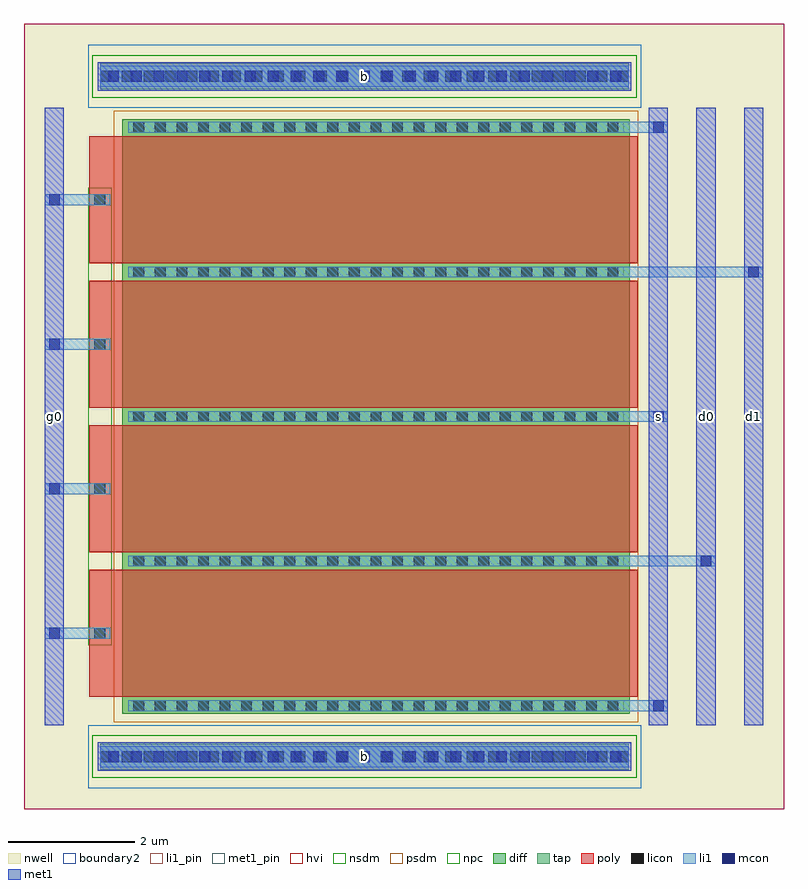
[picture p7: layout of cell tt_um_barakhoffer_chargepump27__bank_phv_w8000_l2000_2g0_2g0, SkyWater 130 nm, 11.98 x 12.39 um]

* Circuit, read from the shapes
.subckt tt_um_barakhoffer_chargepump27__bank_phv_w8000_l2000_2g0_2g0 b d0 d1 g0 s
XM1 d0 g0 s b sky130_fd_pr__pfet_g5v0d10v5 w=8 l=2 m=2
XM2 d1 g0 s b sky130_fd_pr__pfet_g5v0d10v5 w=8 l=2 m=2
.ends

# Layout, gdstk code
import gdstk
lib = gdstk.Library(unit=1e-6, precision=1e-09)
def R(c, l, rs):  # rectangles x0, y0, x1, y1
    for r in rs: c.add(gdstk.rectangle(r[:2], r[2:], *l))
def A(c, l, x, y, w, h, nx, ny, dx, dy):  # array of equal rectangles
    R(c, l, [(x+i*dx, y+j*dy, x+i*dx+w, y+j*dy+h) for i in range(nx) for j in range(ny)])
nwell = (64, 20)
diff = (65, 20)
tap = (65, 44)
poly = (66, 20)
licon = (66, 44)
li1_pin = (67, 16)
li1 = (67, 20)
mcon = (67, 44)
met1_pin = (68, 16)
met1 = (68, 20)
hvi = (75, 20)
nsdm = (93, 44)
psdm = (94, 20)
npc = (95, 20)
boundary2 = (236, 0)

tt_um_barakhoffer_charge = lib.new_cell('tt_um_barakhoffer_chargepump27__mos_12')
R(tt_um_barakhoffer_charge, nwell, [(-0.18,-0.18,8.18,9.55)])
A(tt_um_barakhoffer_charge, diff, 0.115, 0, 7.77, 0.25, 1, 5, 0, 2.28)
R(tt_um_barakhoffer_charge, diff, [(0,0,8,9.37)])
A(tt_um_barakhoffer_charge, poly, -0.52, 0.265, 0.33, 2, 1, 4, 0, 2.28)
A(tt_um_barakhoffer_charge, poly, -0.19, 0.265, 8.32, 2, 1, 4, 0, 2.28)
A(tt_um_barakhoffer_charge, poly, -0.52, 1.13, 0.33, 0.27, 1, 4, 0, 2.28)
A(tt_um_barakhoffer_charge, licon, 0.175, 0.04, 0.17, 0.17, 23, 5, 0.34, 2.28)
A(tt_um_barakhoffer_charge, licon, -0.44, 1.18, 0.17, 0.17, 1, 4, 0, 2.28)
A(tt_um_barakhoffer_charge, li1_pin, 0.095, 0.04, 7.81, 0.17, 1, 5, 0, 2.28)
A(tt_um_barakhoffer_charge, li1_pin, -0.52, 1.18, 0.33, 0.17, 1, 4, 0, 2.28)
R(tt_um_barakhoffer_charge, li1, [(0.095,0.04,7.905,0.21), (0.095,0.04,7.905,0.21), (-0.52,1.18,-0.19,1.35), (-0.52,1.18,-0.19,1.35), (0.095,2.32,7.905,2.49), (0.095,2.32,7.905,2.49), (-0.52,3.46,-0.19,3.63), (-0.52,3.46,-0.19,3.63), (0.095,4.6,7.905,4.77), (0.095,4.6,7.905,4.77), (-0.52,5.74,-0.19,5.91), (-0.52,5.74,-0.19,5.91), (0.095,6.88,7.905,7.05), (0.095,6.88,7.905,7.05), (-0.52,8.02,-0.19,8.19), (-0.52,8.02,-0.19,8.19), (0.095,9.16,7.905,9.33), (0.095,9.16,7.905,9.33)])
R(tt_um_barakhoffer_charge, hvi, [(-0.135,-0.135,8.135,9.505)])
R(tt_um_barakhoffer_charge, psdm, [(-0.135,-0.135,8.135,9.505)])
A(tt_um_barakhoffer_charge, npc, -0.54, 1.08, 0.37, 0.37, 1, 4, 0, 2.28)
R(tt_um_barakhoffer_charge, npc, [(-0.54,1.08,-0.17,8.29)])
tt_um_barakhoffer_charge.add(gdstk.Label('gate_3', (-0.355,8.105), layer=67, texttype=5))
tt_um_barakhoffer_charge.add(gdstk.Label('gate_0', (-0.355,1.265), layer=67, texttype=5))
tt_um_barakhoffer_charge.add(gdstk.Label('gate_1', (-0.355,3.545), layer=67, texttype=5))
tt_um_barakhoffer_charge.add(gdstk.Label('sd_0_1', (4,2.405), layer=67, texttype=5))
tt_um_barakhoffer_charge.add(gdstk.Label('sd_0_3', (4,6.965), layer=67, texttype=5))
tt_um_barakhoffer_charge.add(gdstk.Label('gate_2', (-0.355,5.825), layer=67, texttype=5))
tt_um_barakhoffer_charge.add(gdstk.Label('sd_0_2', (4,4.685), layer=67, texttype=5))
tt_um_barakhoffer_charge.add(gdstk.Label('sd_0_0', (4,0.125), layer=67, texttype=5))
tt_um_barakhoffer_charge.add(gdstk.Label('sd_0_4', (4,9.245), layer=67, texttype=5))

c_tt_um_barakhoffer_charge = lib.new_cell('tt_um_barakhoffer_chargepump27__bank_phv_w8000_l2000_2g0_2g0')
R(c_tt_um_barakhoffer_charge, nwell, [(-1.01,-0.33,10.975,12.06)])
R(c_tt_um_barakhoffer_charge, tap, [(0.195,0.295,8.525,0.705), (0.195,11.025,8.525,11.435)])
A(c_tt_um_barakhoffer_charge, licon, 0.195, 0.415, 0.17, 0.17, 25, 2, 0.34, 10.73)
A(c_tt_um_barakhoffer_charge, li1, 0.635, 1.22, 8.51, 0.17, 1, 3, 0, 4.56)
A(c_tt_um_barakhoffer_charge, li1, 8.91, 1.22, 0.17, 0.17, 1, 3, 0, 4.56)
A(c_tt_um_barakhoffer_charge, li1, -0.68, 2.36, 1.03, 0.17, 1, 4, 0, 2.28)
A(c_tt_um_barakhoffer_charge, li1, -0.615, 2.36, 0.17, 0.17, 1, 4, 0, 2.28)
R(c_tt_um_barakhoffer_charge, li1, [(0.195,0.335,8.525,0.665), (0.315,0.415,8.405,0.585), (0.635,3.5,9.895,3.67), (9.66,3.5,9.83,3.67), (0.635,8.06,10.645,8.23), (10.41,8.06,10.58,8.23), (0.195,11.065,8.525,11.395), (0.315,11.145,8.405,11.315)])
A(c_tt_um_barakhoffer_charge, mcon, 0.315, 0.415, 0.17, 0.17, 23, 2, 0.36, 10.73)
A(c_tt_um_barakhoffer_charge, mcon, 8.91, 1.22, 0.17, 0.17, 1, 3, 0, 4.56)
A(c_tt_um_barakhoffer_charge, mcon, -0.615, 2.36, 0.17, 0.17, 1, 4, 0, 2.28)
R(c_tt_um_barakhoffer_charge, mcon, [(9.66,3.5,9.83,3.67), (10.41,8.06,10.58,8.23)])
A(c_tt_um_barakhoffer_charge, met1_pin, 8.845, 1, 0.3, 9.73, 3, 1, 0.75, 0)
R(c_tt_um_barakhoffer_charge, met1_pin, [(0.15,0.275,8.57,0.725), (-0.68,1,-0.38,10.73), (0.15,11.005,8.57,11.455)])
A(c_tt_um_barakhoffer_charge, met1, 8.85, 1.19, 0.29, 0.23, 1, 3, 0, 4.56)
A(c_tt_um_barakhoffer_charge, met1, -0.675, 2.33, 0.29, 0.23, 1, 4, 0, 2.28)
R(c_tt_um_barakhoffer_charge, met1, [(0.15,0.275,8.57,0.725), (0.15,0.275,8.57,0.725), (0.255,0.385,8.465,0.615), (-0.68,1,-0.38,10.73), (-0.68,1,-0.38,10.73), (8.845,1,9.145,10.73), (8.845,1,9.145,10.73), (9.595,1,9.895,10.73), (9.595,1,9.895,10.73), (10.345,1,10.645,10.73), (10.345,1,10.645,10.73), (9.6,3.47,9.89,3.7), (10.35,8.03,10.64,8.26), (0.15,11.005,8.57,11.455), (0.15,11.005,8.57,11.455), (0.255,11.115,8.465,11.345)])
R(c_tt_um_barakhoffer_charge, hvi, [(-1.01,-0.33,10.975,12.06)])
R(c_tt_um_barakhoffer_charge, nsdm, [(0.065,0.165,8.655,0.835), (0.065,10.895,8.655,11.565)])
R(c_tt_um_barakhoffer_charge, boundary2, [(0,0,8.72,1), (0,10.73,8.72,11.73)])
c_tt_um_barakhoffer_charge.add(gdstk.Reference(tt_um_barakhoffer_charge, (0.54,1.18)))
c_tt_um_barakhoffer_charge.add(gdstk.Label('g0', (-0.53,5.865), layer=68, texttype=5))
c_tt_um_barakhoffer_charge.add(gdstk.Label('b', (4.36,0.5), layer=68, texttype=5))
c_tt_um_barakhoffer_charge.add(gdstk.Label('b', (4.36,11.23), layer=68, texttype=5))
c_tt_um_barakhoffer_charge.add(gdstk.Label('d0', (9.745,5.865), layer=68, texttype=5))
c_tt_um_barakhoffer_charge.add(gdstk.Label('d1', (10.495,5.865), layer=68, texttype=5))
c_tt_um_barakhoffer_charge.add(gdstk.Label('s', (8.995,5.865), layer=68, texttype=5))

lib.write_gds('tt_um_barakhoffer_chargepump27__bank_phv_w8000_l2000_2g0_2g0.gds')
